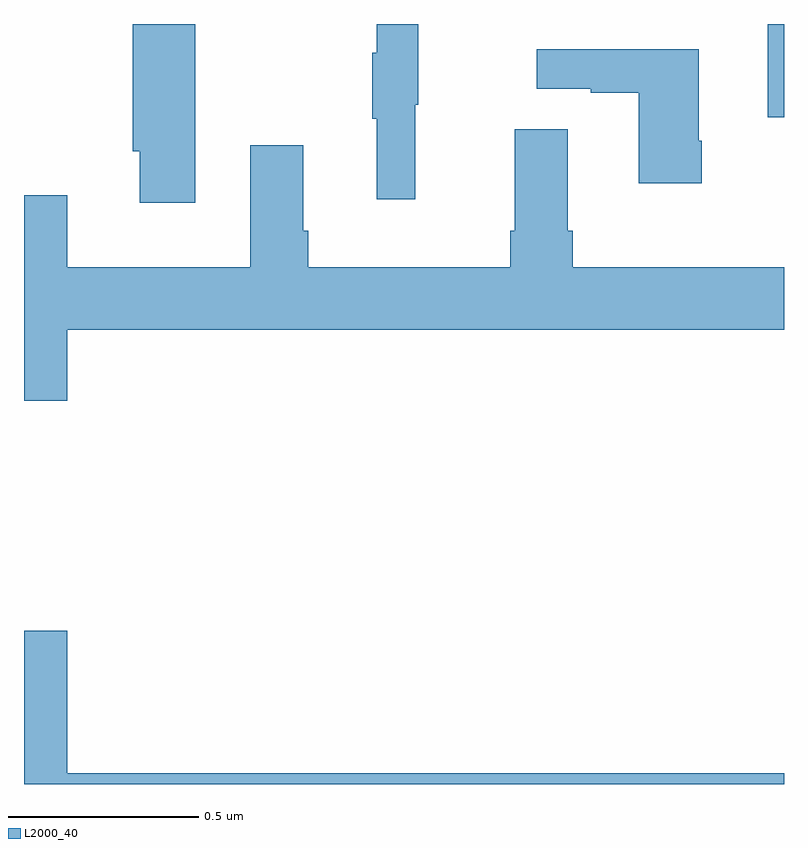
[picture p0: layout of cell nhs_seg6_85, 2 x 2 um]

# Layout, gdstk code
import gdstk
lib = gdstk.Library(unit=1e-6, precision=1e-09)
def R(c, l, rs):  # rectangles x0, y0, x1, y1
    for r in rs: c.add(gdstk.rectangle(r[:2], r[2:], *l))
def P(c, l, *ps):  # polygons
    for p in ps: c.add(gdstk.Polygon(p, *l))
L2000_40 = (2000, 40)

nhs_seg6_85 = lib.new_cell('nhs_seg6_85')
R(nhs_seg6_85, L2000_40, [(113.957,921.255,114,921.5)])
P(nhs_seg6_85, L2000_40, [(112.45,921.5),(112.286,921.5),(112.286,921.165),(112.304,921.165),(112.304,921.03),(112.45,921.03)],
  [(113.03,921.288),(113.038,921.288),(113.038,921.5),(112.928,921.5),(112.928,921.425),(112.917,921.425),(112.917,921.251),(112.928,921.251),(112.928,921.039),(113.03,921.039)],
  [(113.784,921.193),(113.776,921.193),(113.776,921.433),(113.349,921.433),(113.349,921.329),(113.492,921.329),(113.492,921.319),(113.618,921.319),(113.618,921.081),(113.784,921.081)],
  [(112.114,920.696),(114,920.696),(114,920.86),(113.444,920.86),(113.444,920.956),(113.431,920.956),(113.431,921.223),(113.291,921.223),(113.291,920.956),(113.279,920.956),(113.279,920.86),(112.748,920.86),(112.748,920.956),(112.735,920.956),(112.735,921.181),(112.595,921.181),(112.595,920.86),(112.114,920.86),(112.114,921.049),(112,921.049),(112,920.508),(112.114,920.508)],
  [(114,919.528),(112.114,919.528),(112.114,919.903),(112,919.903),(112,919.5),(114,919.5)])

lib.write_gds('nhs_seg6_85.gds')
